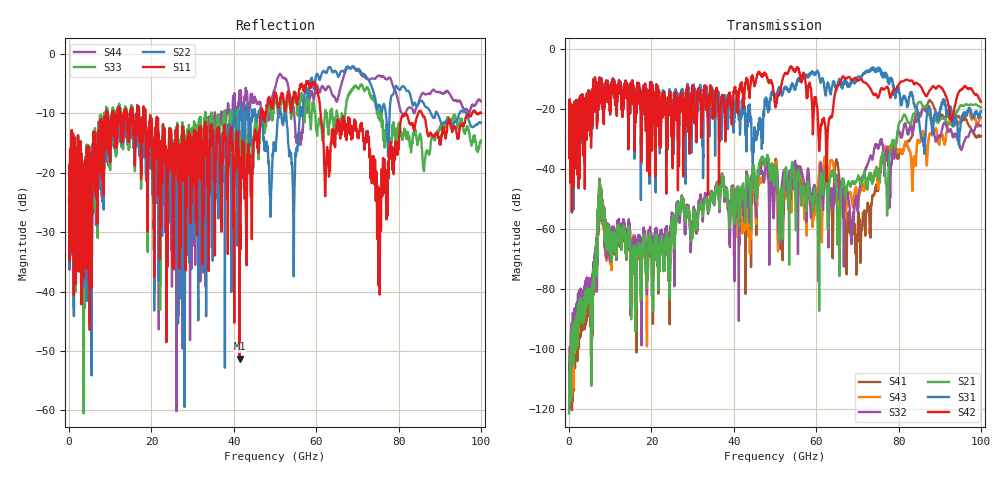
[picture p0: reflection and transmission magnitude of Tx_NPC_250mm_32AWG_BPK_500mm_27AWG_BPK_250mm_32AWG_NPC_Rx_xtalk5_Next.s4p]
! Info: Touchstone file created by Circ.  Input file=Tx_NPC_250mm_32AWG_BPK_500mm_27AWG_BPK_250mm_32AWG_NPC_Rx.circ
# Hz S RI R 50
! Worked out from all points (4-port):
!   10000 points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, 10 MHz to 100 GHz, reference 50 ohm
!   strongest paths, dB at 10 MHz, 25.01 GHz, 50.01 GHz, 75.01 GHz, 100 GHz:
!     S42: -29.4, -18.4, -18.5, -16.2, -17.6
!     S31: -29.4, -17.8, -15.5, -6.7, -20.8
!     S21: -121.4, -58.4, -40.5, -41.2, -19.5
!     S32: -104.6, -55.7, -44.4, -32.8, -25.5
!     S43: -102.5, -57.2, -39.5, -46.0, -22.7
!     S41: -118.1, -59.0, -38.3, -47.3, -29.0
!   lowest |S11| = -51.3 dB at 41.43 GHz (marker M1), VSWR 1.01, Z = 50 - j0.272 ohm
!   |S11| at or under -10 dB: 18.48 GHz to 46.66 GHz (28.18 GHz wide, 86.5 % of centre); 61.06 GHz to 84.77 GHz (23.71 GHz wide, 32.5 % of centre); 85.69 GHz to 97.84 GHz (12.15 GHz wide, 13.2 % of centre)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
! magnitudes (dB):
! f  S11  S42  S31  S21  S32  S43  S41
! 10 MHz  -24.9  -29.4  -29.4  -121.4  -104.6  -102.5  -118.1
! 7.68 GHz  -15.8  -12.6  -11.8  -46.8  -46.9  -46.6  -46.6
! 15.33 GHz  -9.3  -10.7  -10.8  -72.5  -68.1  -70.5  -71.5
! 41.43 GHz  -51.3  -13.0  -22.8  -53.1  -52.8  -54.5  -56.3
! 69.62 GHz  -11.5  -9.7  -11.0  -44.3  -49.2  -46.2  -62.5
! 87.47 GHz  -13.8  -14.1  -19.3  -21.7  -22.0  -28.8  -17.1
! 100 GHz  -9.9  -17.6  -20.8  -19.5  -25.5  -22.7  -29.0
